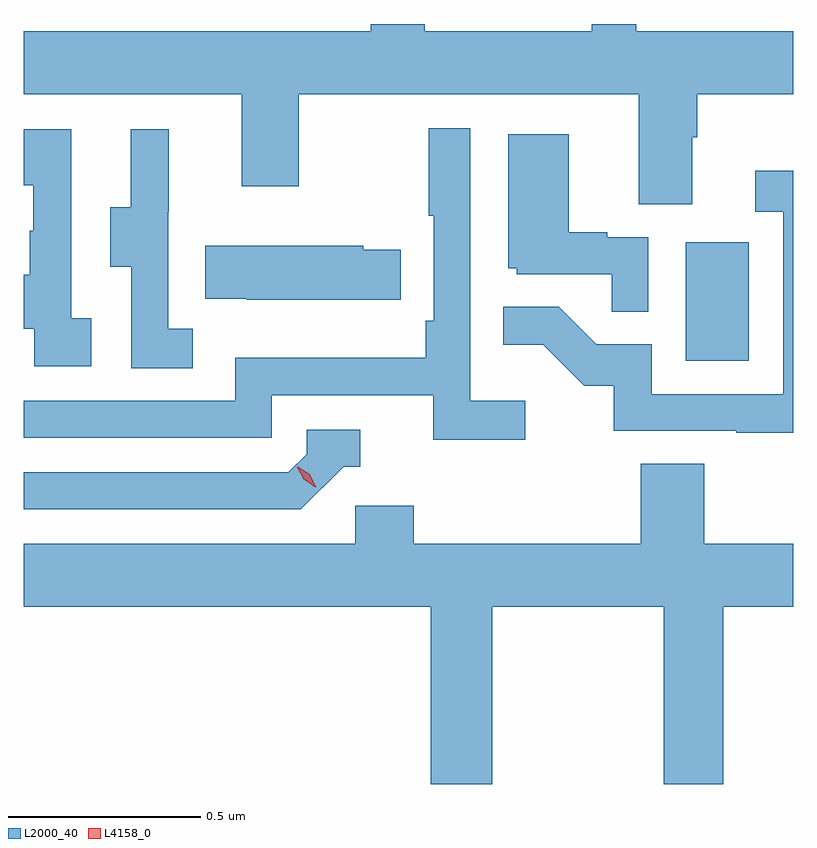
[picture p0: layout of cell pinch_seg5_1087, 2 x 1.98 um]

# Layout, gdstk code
import gdstk
lib = gdstk.Library(unit=1e-6, precision=1e-09)
def R(c, l, rs):  # rectangles x0, y0, x1, y1
    for r in rs: c.add(gdstk.rectangle(r[:2], r[2:], *l))
def P(c, l, *ps):  # polygons
    for p in ps: c.add(gdstk.Polygon(p, *l))
L2000_40 = (2000, 40)
L4158_0 = (4158, 0)

pinch_seg5_1087 = lib.new_cell('pinch_seg5_1087')
R(pinch_seg5_1087, L2000_40, [(847.79,856.068,847.954,856.375)])
P(pinch_seg5_1087, L2000_40, [(846.971,856.943),(846.971,856.924),(846.069,856.924),(846.069,856.76),(846.635,856.76),(846.635,856.521),(846.783,856.521),(846.783,856.76),(847.667,856.76),(847.667,856.474),(847.807,856.474),(847.807,856.648),(847.82,856.648),(847.82,856.76),(848.069,856.76),(848.069,856.924),(847.661,856.924),(847.661,856.943),(847.545,856.943),(847.545,856.924),(847.111,856.924),(847.111,856.943)],
  [(847.372,855.964),(847.23,855.964),(847.23,856.672),(847.122,856.672),(847.122,856.444),(847.134,856.444),(847.134,856.171),(847.114,856.171),(847.114,856.075),(846.618,856.075),(846.618,855.963),(846.069,855.963),(846.069,855.867),(846.714,855.867),(846.714,855.978),(847.133,855.978),(847.133,855.862),(847.372,855.862)],
  [(846.244,856.178),(846.192,856.178),(846.192,856.669),(846.069,856.669),(846.069,856.524),(846.094,856.524),(846.094,856.406),(846.084,856.406),(846.084,856.291),(846.069,856.291),(846.069,856.151),(846.096,856.151),(846.096,856.053),(846.244,856.053)],
  [(846.508,856.151),(846.444,856.151),(846.444,856.455),(846.446,856.455),(846.446,856.669),(846.347,856.669),(846.347,856.467),(846.293,856.467),(846.293,856.312),(846.348,856.312),(846.348,856.048),(846.508,856.048)],
  [(847.692,856.389),(847.586,856.389),(847.586,856.402),(847.486,856.402),(847.486,856.657),(847.328,856.657),(847.328,856.308),(847.35,856.308),(847.35,856.293),(847.597,856.293),(847.597,856.195),(847.692,856.195)],
  [(848.069,856.561),(847.971,856.561),(847.971,856.455),(848.043,856.455),(848.043,855.981),(847.701,855.981),(847.701,856.11),(847.557,856.11),(847.459,856.208),(847.315,856.208),(847.315,856.109),(847.419,856.109),(847.526,856.002),(847.603,856.002),(847.603,855.885),(847.921,855.885),(847.921,855.88),(848.069,855.88)],
  [(847.049,856.356),(846.951,856.356),(846.951,856.366),(846.541,856.366),(846.541,856.229),(846.649,856.229),(846.649,856.226),(847.049,856.226)],
  [(846.9,855.792),(846.943,855.792),(846.943,855.888),(846.804,855.888),(846.804,855.825),(846.756,855.777),(846.069,855.777),(846.069,855.681),(846.789,855.681)],
  [(847.287,855.428),(847.732,855.428),(847.732,854.967),(847.887,854.967),(847.887,855.428),(848.069,855.428),(848.069,855.592),(847.838,855.592),(847.838,855.8),(847.673,855.8),(847.673,855.592),(847.082,855.592),(847.082,855.69),(846.93,855.69),(846.93,855.592),(846.069,855.592),(846.069,855.428),(847.127,855.428),(847.127,854.967),(847.287,854.967)])
P(pinch_seg5_1087, L4158_0, [(846.827,855.739),(846.797,855.759),(846.78,855.791),(846.78,855.792),(846.781,855.792),(846.812,855.772),(846.828,855.74),(846.828,855.739)])

lib.write_gds('pinch_seg5_1087.gds')
